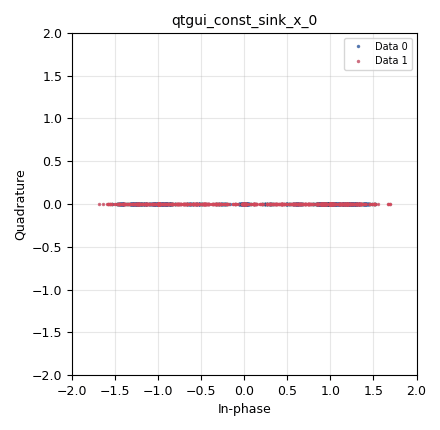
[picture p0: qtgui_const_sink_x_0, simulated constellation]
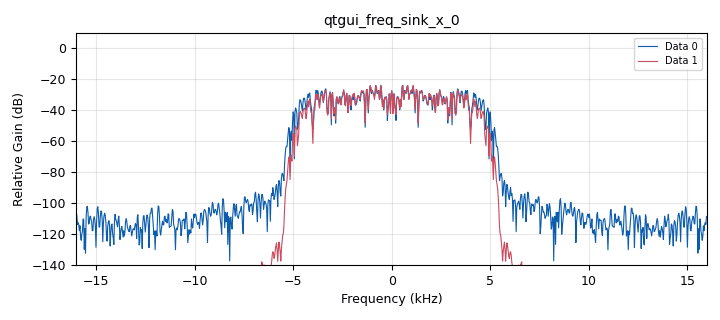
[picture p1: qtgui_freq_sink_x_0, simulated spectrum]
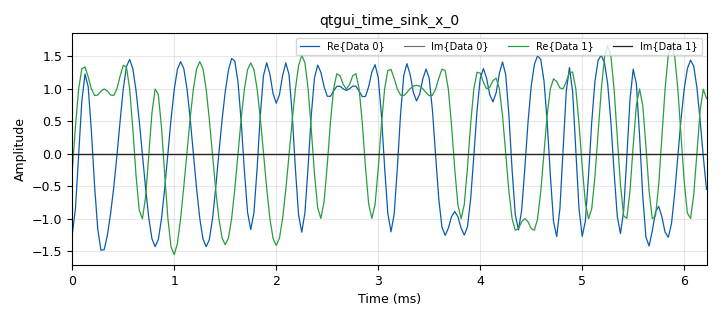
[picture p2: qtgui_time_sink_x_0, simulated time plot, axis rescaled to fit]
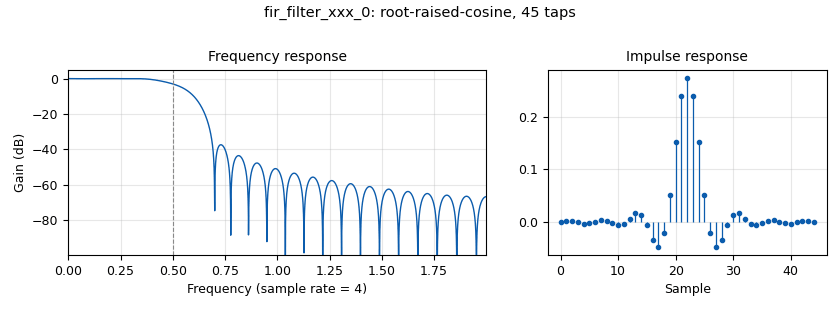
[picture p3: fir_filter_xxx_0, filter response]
options:
  parameters:
    author: žan
    generate_options: qt_gui
    id: BPSK_signal_transmition
    output_language: python
    title: BPSK_signal_transmition
  states: {}

blocks:
- name: bpsk
  id: variable_constellation
  parameters:
    precision: '8'
    type: bpsk
  states: {}
- name: excess_bw
  id: variable
  parameters:
    value: '0.350'
  states: {}
- name: rrc_taps
  id: variable
  parameters:
    value: firdes.root_raised_cosine(1, sps, 1, excess_bw, 45)
  states: {}
- name: samp_rate
  id: variable
  parameters:
    value: '32000'
  states: {}
- name: sps
  id: variable
  parameters:
    value: '4'
  states: {}
- name: analog_random_source_x_0
  id: analog_random_source_x
  parameters:
    max: '256'
    min: '0'
    num_samps: '10000'
    repeat: 'True'
    type: byte
  states: {}
- name: blocks_throttle2_0
  id: blocks_throttle2
  parameters:
    samples_per_second: samp_rate
    type: complex
  states: {}
- name: digital_constellation_modulator_0
  id: digital_constellation_modulator
  parameters:
    constellation: bpsk
    differential: 'True'
    excess_bw: '0.35'
    log: 'True'
    samples_per_symbol: '4'
    verbose: 'True'
  states: {}
- name: fir_filter_xxx_0
  id: fir_filter_xxx
  parameters:
    decim: '1'
    taps: rrc_taps
    type: ccc
  states: {}
- name: qtgui_const_sink_x_0
  id: qtgui_const_sink_x
  parameters:
    nconnections: '2'
    size: '1024'
    type: complex
  states: {}
- name: qtgui_freq_sink_x_0
  id: qtgui_freq_sink_x
  parameters:
    bw: samp_rate
    fc: '0'
    fftsize: '1024'
    nconnections: '2'
    type: complex
  states: {}
- name: qtgui_time_sink_x_0
  id: qtgui_time_sink_x
  parameters:
    nconnections: '2'
    size: '200'
    srate: samp_rate
    type: complex
  states: {}

connections:
- [analog_random_source_x_0, '0', digital_constellation_modulator_0, '0']
- [blocks_throttle2_0, '0', fir_filter_xxx_0, '0']
- [blocks_throttle2_0, '0', qtgui_const_sink_x_0, '0']
- [blocks_throttle2_0, '0', qtgui_freq_sink_x_0, '0']
- [blocks_throttle2_0, '0', qtgui_time_sink_x_0, '0']
- [digital_constellation_modulator_0, '0', blocks_throttle2_0, '0']
- [fir_filter_xxx_0, '0', qtgui_const_sink_x_0, '1']
- [fir_filter_xxx_0, '0', qtgui_freq_sink_x_0, '1']
- [fir_filter_xxx_0, '0', qtgui_time_sink_x_0, '1']

metadata:
  file_format: 1
  grc_version: 3.10.12.0
